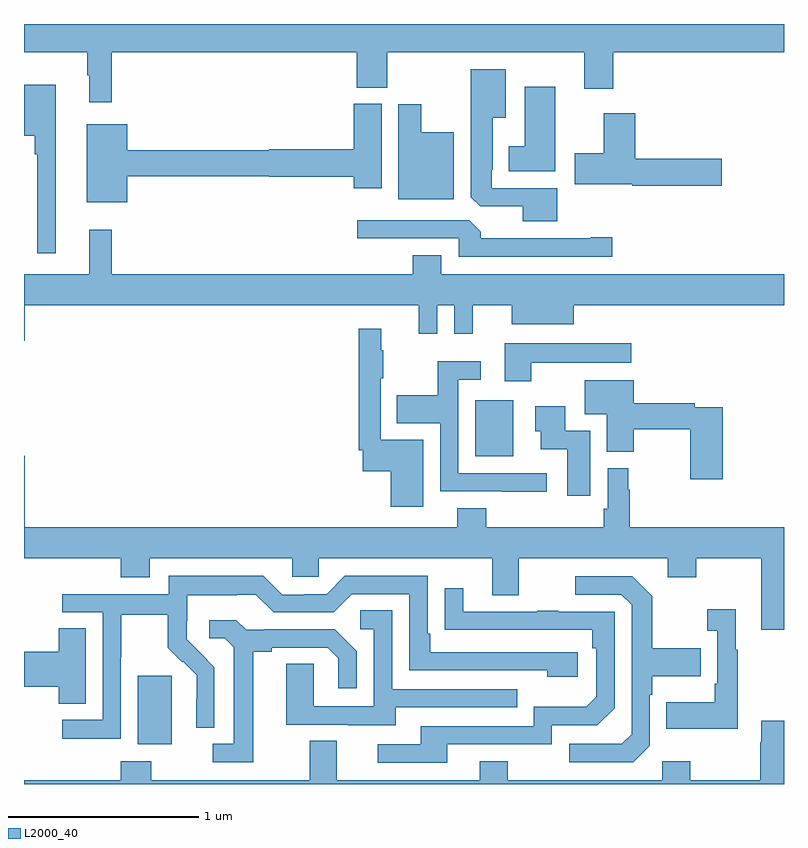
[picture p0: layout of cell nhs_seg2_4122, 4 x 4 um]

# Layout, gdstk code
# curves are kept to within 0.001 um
import gdstk
lib = gdstk.Library(unit=1e-6, precision=1e-09)
def R(c, l, rs):  # rectangles x0, y0, x1, y1
    for r in rs: c.add(gdstk.rectangle(r[:2], r[2:], *l))
def P(c, l, *ps):  # polygons
    for p in ps: c.add(gdstk.Polygon(p, *l))
L2000_40 = (2000, 40)

nhs_seg2_4122 = lib.new_cell('nhs_seg2_4122')
R(nhs_seg2_4122, L2000_40, [(333.599,628.01,333.778,628.371), (335.375,629.525,335.575,629.821)])
P(nhs_seg2_4122, L2000_40, [(333.461,631.652),(334.751,631.652),(334.751,631.465),(334.911,631.465),(334.911,631.652),(335.948,631.652),(335.948,631.458),(336.101,631.458),(336.101,631.652),(337,631.652),(337,631.8),(333,631.8),(333,631.652),(333.333,631.652),(333.333,631.529),(333.344,631.529),(333.344,631.389),(333.461,631.389)],
  [(335.807,630.936),(335.463,630.936),(335.463,631.033),(335.467,631.033),(335.467,631.307),(335.536,631.307),(335.536,631.561),(335.351,631.561),(335.351,630.889),(335.4,630.84),(335.624,630.84),(335.624,630.761),(335.807,630.761)],
  [(333.166,631.48),(333,631.48),(333,631.211),(333.057,631.211),(333.057,631.115),(333.069,631.115),(333.069,630.594),(333.166,630.594)],
  [(335.797,631.471),(335.636,631.471),(335.636,631.156),(335.552,631.156),(335.552,631.025),(335.797,631.025)],
  [(333.544,631),(334.29,631),(334.29,630.995),(334.736,630.995),(334.736,630.936),(334.882,630.936),(334.882,631.38),(334.736,631.38),(334.736,631.142),(334.29,631.142),(334.29,631.136),(333.544,631.136),(333.544,631.273),(333.329,631.273),(333.329,630.863),(333.544,630.863)],
  [(335.263,631.231),(335.092,631.231),(335.092,631.378),(334.97,631.378),(334.97,630.878),(335.263,630.878)],
  [(336.673,631.091),(336.218,631.091),(336.218,631.33),(336.05,631.33),(336.05,631.119),(335.898,631.119),(335.898,630.956),(336.201,630.956),(336.201,630.949),(336.673,630.949)],
  [(336.097,630.677),(335.984,630.677),(335.984,630.672),(335.405,630.672),(335.405,630.706),(335.343,630.768),(334.755,630.768),(334.755,630.672),(335.289,630.672),(335.289,630.576),(336.097,630.576)],
  [(335.045,630.484),(333.461,630.484),(333.461,630.718),(333.344,630.718),(333.344,630.484),(333,630.484),(333,630.132),(333.004,630.132),(333.004,630.32),(335.078,630.32),(335.078,630.171),(335.175,630.171),(335.175,630.32),(335.265,630.32),(335.265,630.171),(335.363,630.171),(335.363,630.32),(335.567,630.32),(335.567,630.221),(335.893,630.221),(335.893,630.32),(337,630.32),(337,630.484),(335.197,630.484),(335.197,630.583),(335.045,630.583)],
  [(335.101,629.611),(334.878,629.611),(334.878,629.935),(334.891,629.935),(334.891,630.083),(334.88,630.083),(334.88,630.196),(334.762,630.196),(334.762,629.557),(334.782,629.557),(334.782,629.446),(334.931,629.446),(334.931,629.259),(335.101,629.259)],
  [(335.671,630.017),(336.196,630.017),(336.196,630.121),(335.531,630.121),(335.531,629.919),(335.671,629.919)],
  [(335.752,629.436),(335.286,629.436),(335.286,629.928),(335.404,629.928),(335.404,630.025),(335.178,630.025),(335.178,629.847),(334.963,629.847),(334.963,629.699),(335.19,629.699),(335.19,629.34),(335.515,629.34),(335.515,629.339),(335.752,629.339)],
  [(336.677,629.784),(336.53,629.784),(336.53,629.804),(336.208,629.804),(336.208,629.926),(335.951,629.926),(335.951,629.747),(336.068,629.747),(336.068,629.55),(336.208,629.55),(336.208,629.668),(336.506,629.668),(336.506,629.403),(336.677,629.403)],
  [(335.98,629.658),(335.848,629.658),(335.848,629.788),(335.69,629.788),(335.69,629.657),(335.72,629.657),(335.72,629.562),(335.858,629.562),(335.858,629.316),(335.98,629.316)],
  [(337,629.152),(336.188,629.152),(336.188,629.348),(336.181,629.348),(336.181,629.461),(336.072,629.461),(336.072,629.248),(336.052,629.248),(336.052,629.152),(335.432,629.152),(335.432,629.251),(335.279,629.251),(335.279,629.152),(333.004,629.152),(333.004,629.527),(333,629.527),(333,628.988),(333.509,628.988),(333.509,628.889),(333.661,628.889),(333.661,628.988),(334.413,628.988),(334.413,628.89),(334.551,628.89),(334.551,628.988),(335.465,628.988),(335.465,628.794),(335.605,628.794),(335.605,628.988),(336.389,628.988),(336.389,628.889),(336.537,628.889),(336.537,628.988),(336.881,628.988),(336.881,628.611),(337,628.611)],
  [(333.51,628.468),(333.513,628.468),(333.513,628.692),(333.757,628.692),(333.757,628.517),(333.834,628.44),(333.837,628.443),(333.908,628.373),(333.908,628.25),(333.906,628.25),(333.906,628.096),(334.002,628.096),(334.002,628.414),(333.856,628.562),(333.856,628.659),(333.858,628.659),(333.858,628.793),(334.121,628.793),(334.121,628.797),(334.221,628.797),(334.314,628.704),(334.629,628.704),(334.725,628.8),(335.028,628.8),(335.028,628.398),(335.753,628.398),(335.753,628.364),(335.914,628.364),(335.914,628.494),(335.137,628.494),(335.137,628.591),(335.124,628.591),(335.124,628.896),(334.689,628.896),(334.593,628.8),(334.475,628.8),(334.475,628.797),(334.359,628.797),(334.259,628.897),(333.762,628.897),(333.762,628.8),(333.201,628.8),(333.201,628.704),(333.414,628.704),(333.414,628.137),(333.201,628.137),(333.201,628.039),(333.51,628.039)],
  [(336.294,628.002),(336.294,628.271),(336.307,628.271),(336.307,628.367),(336.563,628.367),(336.563,628.515),(336.307,628.515),(336.307,628.787),(336.201,628.893),(335.901,628.893),(335.901,628.797),(336.144,628.797),(336.198,628.743),(336.198,628.062),(336.147,628.011),(335.871,628.011),(335.871,627.915),(336.207,627.915)],
  [(335.227,628.008),(335.778,628.008),(335.778,628.11),(336.018,628.11),(336.108,628.2),(336.108,628.707),(335.813,628.707),(335.813,628.712),(335.701,628.712),(335.701,628.707),(335.311,628.707),(335.311,628.831),(335.215,628.831),(335.215,628.612),(335.992,628.611),(335.992,628.514),(336.012,628.514),(336.012,628.26),(335.959,628.207),(335.682,628.207),(335.682,628.104),(335.087,628.104),(335.087,628.008),(334.863,628.008),(334.863,627.912),(335.227,627.912)],
  [(336.757,628.507),(336.745,628.507),(336.745,628.72),(336.597,628.72),(336.597,628.607),(336.648,628.607),(336.648,628.327),(336.636,628.327),(336.636,628.231),(336.379,628.231),(336.379,628.091),(336.757,628.091)],
  [(334.957,628.203),(335.597,628.203),(335.597,628.299),(334.938,628.299),(334.938,628.715),(334.77,628.715),(334.77,628.614),(334.842,628.614),(334.842,628.209),(334.524,628.209),(334.524,628.433),(334.379,628.433),(334.379,628.113),(334.703,628.113),(334.703,628.109),(334.957,628.109)],
  [(334.207,628.496),(334.303,628.496),(334.303,628.518),(334.598,628.518),(334.655,628.461),(334.655,628.305),(334.752,628.305),(334.752,628.498),(334.636,628.614),(334.264,628.614),(334.264,628.611),(334.17,628.611),(334.118,628.663),(333.975,628.663),(333.975,628.566),(334.056,628.566),(334.103,628.519),(334.103,628.011),(333.993,628.011),(333.993,627.915),(334.207,627.915)],
  [(333.325,628.619),(333.182,628.619),(333.182,628.496),(333,628.496),(333,628.313),(333.182,628.313),(333.182,628.222),(333.325,628.222)],
  [(337,628.132),(336.881,628.132),(336.881,628.019),(336.874,628.019),(336.874,627.82),(336.507,627.82),(336.507,627.919),(336.36,627.919),(336.36,627.82),(335.547,627.82),(335.547,627.919),(335.399,627.919),(335.399,627.82),(334.645,627.82),(334.645,628.028),(334.505,628.028),(334.505,627.82),(333.669,627.82),(333.669,627.919),(333.509,627.919),(333.509,627.82),(333,627.82),(333,627.8),(337,627.8)])

lib.write_gds('nhs_seg2_4122.gds')
